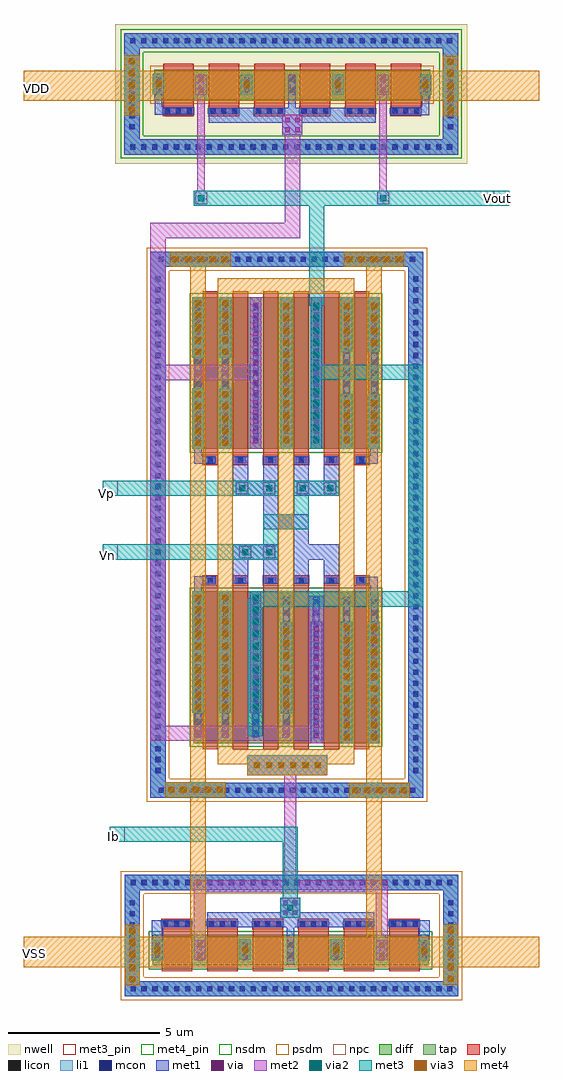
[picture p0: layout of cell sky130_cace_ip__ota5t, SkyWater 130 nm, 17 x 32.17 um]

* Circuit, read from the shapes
.subckt sky130_cace_ip__ota5t Ib VDD VSS Vn Vout Vp
XM1 n1 VSS VSS VSS sky130_fd_pr__nfet_01v8 w=1 l=1 m=2
XM2 n1 VSS VSS VSS sky130_fd_pr__nfet_01v8 w=5 l=0.5 m=4
XM3 VSS Ib n1 VSS sky130_fd_pr__nfet_01v8 w=1 l=1 m=2
XM4 Vout Vn n1 VSS sky130_fd_pr__nfet_01v8 w=5 l=0.5 m=4
XM5 n2 Vp n1 VSS sky130_fd_pr__nfet_01v8 w=5 l=0.5 m=4
XM6 Ib Ib VSS VSS sky130_fd_pr__nfet_01v8 w=1 l=1 m=2
XM7 Vout VDD VDD VDD sky130_fd_pr__pfet_01v8 w=1 l=1 m=2
XM8 VDD n2 Vout VDD sky130_fd_pr__pfet_01v8 w=1 l=1 m=2
XM9 n2 n2 VDD VDD sky130_fd_pr__pfet_01v8 w=1 l=1 m=2
.ends

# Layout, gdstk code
import gdstk
lib = gdstk.Library(unit=1e-6, precision=1e-09)
def R(c, l, rs):  # rectangles x0, y0, x1, y1
    for r in rs: c.add(gdstk.rectangle(r[:2], r[2:], *l))
def A(c, l, x, y, w, h, nx, ny, dx, dy):  # array of equal rectangles
    R(c, l, [(x+i*dx, y+j*dy, x+i*dx+w, y+j*dy+h) for i in range(nx) for j in range(ny)])
def P(c, l, *ps):  # polygons
    for p in ps: c.add(gdstk.Polygon(p, *l))
nwell = (64, 20)
diff = (65, 20)
tap = (65, 44)
poly = (66, 20)
licon = (66, 44)
li1 = (67, 20)
mcon = (67, 44)
met1 = (68, 20)
via = (68, 44)
met2 = (69, 20)
via2 = (69, 44)
met3_pin = (70, 16)
met3 = (70, 20)
via3 = (70, 44)
met4_pin = (71, 16)
met4 = (71, 20)
nsdm = (93, 44)
psdm = (94, 20)
npc = (95, 20)

nfet = lib.new_cell('nfet')
R(nfet, diff, [(0,0,6.1,5)])
A(nfet, poly, 0.3, -0.2, 0.5, 5.4, 6, 1, 1, 0)
A(nfet, poly, 0.3, 5.2, 0.5, 0.33, 6, 1, 1, 0)
A(nfet, licon, 0.065, 0.255, 0.17, 0.17, 1, 13, 0, 0.36)
A(nfet, licon, 0.965, 0.255, 0.17, 0.17, 5, 13, 1, 0.36)
A(nfet, licon, 5.865, 0.255, 0.17, 0.17, 1, 13, 0, 0.36)
A(nfet, licon, 0.465, 5.28, 0.17, 0.17, 6, 1, 1, 0)
A(nfet, li1, 0.965, 0.175, 0.17, 4.65, 5, 1, 1, 0)
A(nfet, li1, 0.385, 5.28, 0.33, 0.17, 6, 1, 1, 0)
R(nfet, li1, [(0.065,0.175,0.235,4.825), (5.865,0.175,6.035,4.825)])
A(nfet, mcon, 0.065, 0.255, 0.17, 0.17, 1, 13, 0, 0.36)
A(nfet, mcon, 0.965, 0.255, 0.17, 0.17, 5, 13, 1, 0.36)
A(nfet, mcon, 5.865, 0.255, 0.17, 0.17, 1, 13, 0, 0.36)
A(nfet, mcon, 0.465, 5.28, 0.17, 0.17, 6, 1, 1, 0)
A(nfet, met1, 0.935, 0.195, 0.23, 4.61, 5, 1, 1, 0)
A(nfet, met1, 0.365, 5.25, 0.37, 0.23, 6, 1, 1, 0)
R(nfet, met1, [(0.035,0.195,0.265,4.805), (5.835,0.195,6.065,4.805)])
R(nfet, nsdm, [(-0.125,-0.125,6.225,5.125)])
A(nfet, npc, 0.29, 5.19, 0.52, 0.35, 6, 1, 1, 0)

nfet_2 = lib.new_cell('nfet$2')
R(nfet_2, diff, [(0,0,6.1,5)])
A(nfet_2, poly, 0.3, -0.53, 0.5, 0.33, 6, 1, 1, 0)
A(nfet_2, poly, 0.3, -0.2, 0.5, 5.4, 6, 1, 1, 0)
A(nfet_2, licon, 0.465, -0.45, 0.17, 0.17, 6, 1, 1, 0)
A(nfet_2, licon, 0.065, 0.255, 0.17, 0.17, 1, 13, 0, 0.36)
A(nfet_2, licon, 0.965, 0.255, 0.17, 0.17, 5, 13, 1, 0.36)
A(nfet_2, licon, 5.865, 0.255, 0.17, 0.17, 1, 13, 0, 0.36)
A(nfet_2, li1, 0.385, -0.45, 0.33, 0.17, 6, 1, 1, 0)
A(nfet_2, li1, 0.965, 0.175, 0.17, 4.65, 5, 1, 1, 0)
R(nfet_2, li1, [(0.065,0.175,0.235,4.825), (5.865,0.175,6.035,4.825)])
A(nfet_2, mcon, 0.465, -0.45, 0.17, 0.17, 6, 1, 1, 0)
A(nfet_2, mcon, 0.065, 0.255, 0.17, 0.17, 1, 13, 0, 0.36)
A(nfet_2, mcon, 0.965, 0.255, 0.17, 0.17, 5, 13, 1, 0.36)
A(nfet_2, mcon, 5.865, 0.255, 0.17, 0.17, 1, 13, 0, 0.36)
A(nfet_2, met1, 0.365, -0.48, 0.37, 0.23, 6, 1, 1, 0)
A(nfet_2, met1, 0.935, 0.195, 0.23, 4.61, 5, 1, 1, 0)
R(nfet_2, met1, [(0.035,0.195,0.265,4.805), (5.835,0.195,6.065,4.805)])
R(nfet_2, nsdm, [(-0.125,-0.125,6.225,5.125)])
A(nfet_2, npc, 0.29, -0.54, 0.52, 0.35, 6, 1, 1, 0)

guard_ring_gen_4 = lib.new_cell('guard_ring_gen$4')
P(guard_ring_gen_4, tap, [(-0.5,-0.5),(-0.5,3),(0,3),(0,0),(10,0),(10,3),(-0.5,3),(-0.5,3.5),(10.5,3.5),(10.5,-0.5)])
A(guard_ring_gen_4, licon, -0.305, -0.335, 0.17, 0.17, 30, 2, 0.36, 3.5)
A(guard_ring_gen_4, licon, -0.335, 0.335, 0.17, 0.17, 1, 7, 0, 0.36)
A(guard_ring_gen_4, licon, 10.165, 0.335, 0.17, 0.17, 1, 7, 0, 0.36)
P(guard_ring_gen_4, li1, [(-0.5,-0.5),(-0.5,3),(0,3),(0,0),(10,0),(10,3),(-0.5,3),(-0.5,3.5),(10.5,3.5),(10.5,-0.5)])
A(guard_ring_gen_4, mcon, -0.305, -0.335, 0.17, 0.17, 30, 2, 0.36, 3.5)
A(guard_ring_gen_4, mcon, -0.335, 0.335, 0.17, 0.17, 1, 7, 0, 0.36)
A(guard_ring_gen_4, mcon, 10.165, 0.335, 0.17, 0.17, 1, 7, 0, 0.36)
P(guard_ring_gen_4, met1, [(-0.5,-0.5),(-0.5,3),(0,3),(0,0),(10,0),(10,3),(-0.5,3),(-0.5,3.5),(10.5,3.5),(10.5,-0.5)])
P(guard_ring_gen_4, psdm, [(-0.625,-0.625),(-0.625,2.875),(0.125,2.875),(0.125,0.125),(9.875,0.125),(9.875,2.875),(-0.625,2.875),(-0.625,3.625),(10.625,3.625),(10.625,-0.625)])

vias_gen_1 = lib.new_cell('vias_gen$1')
R(vias_gen_1, met1, [(0,0,0.4,0.4)])
R(vias_gen_1, via, [(0.125,0.125,0.275,0.275)])
R(vias_gen_1, met2, [(0,0,0.4,0.4)])
R(vias_gen_1, via2, [(0.1,0.1,0.3,0.3)])
R(vias_gen_1, met3, [(0,0,0.4,0.4)])

pfet = lib.new_cell('pfet')
R(pfet, nwell, [(-0.305,-0.72,9.405,1.38)])
R(pfet, diff, [(0,0,9.1,1)])
A(pfet, poly, 0.3, -0.53, 1, 0.33, 6, 1, 1.5, 0)
A(pfet, poly, 0.3, -0.2, 1, 1.4, 6, 1, 1.5, 0)
A(pfet, licon, 0.355, -0.45, 0.17, 0.17, 3, 1, 0.36, 0)
A(pfet, licon, 1.855, -0.45, 0.17, 0.17, 3, 1, 0.36, 0)
A(pfet, licon, 3.355, -0.45, 0.17, 0.17, 3, 1, 0.36, 0)
A(pfet, licon, 4.855, -0.45, 0.17, 0.17, 3, 1, 0.36, 0)
A(pfet, licon, 6.355, -0.45, 0.17, 0.17, 3, 1, 0.36, 0)
A(pfet, licon, 7.855, -0.45, 0.17, 0.17, 3, 1, 0.36, 0)
A(pfet, licon, 1.465, 0.235, 0.17, 0.17, 5, 2, 1.5, 0.36)
R(pfet, licon, [(0.065,0.235,0.235,0.405), (8.865,0.235,9.035,0.405), (0.065,0.595,0.235,0.765), (8.865,0.595,9.035,0.765)])
A(pfet, li1, 0.275, -0.45, 1.05, 0.17, 6, 1, 1.5, 0)
A(pfet, li1, 1.465, 0.155, 0.17, 0.69, 5, 1, 1.5, 0)
R(pfet, li1, [(0.065,0.155,0.235,0.845), (8.865,0.155,9.035,0.845)])
A(pfet, mcon, 0.355, -0.45, 0.17, 0.17, 3, 1, 0.36, 0)
A(pfet, mcon, 1.855, -0.45, 0.17, 0.17, 3, 1, 0.36, 0)
A(pfet, mcon, 3.355, -0.45, 0.17, 0.17, 3, 1, 0.36, 0)
A(pfet, mcon, 4.855, -0.45, 0.17, 0.17, 3, 1, 0.36, 0)
A(pfet, mcon, 6.355, -0.45, 0.17, 0.17, 3, 1, 0.36, 0)
A(pfet, mcon, 7.855, -0.45, 0.17, 0.17, 3, 1, 0.36, 0)
A(pfet, mcon, 1.465, 0.235, 0.17, 0.17, 5, 2, 1.5, 0.36)
R(pfet, mcon, [(0.065,0.235,0.235,0.405), (8.865,0.235,9.035,0.405), (0.065,0.595,0.235,0.765), (8.865,0.595,9.035,0.765)])
A(pfet, met1, 0.295, -0.48, 1.01, 0.23, 6, 1, 1.5, 0)
A(pfet, met1, 1.435, 0.175, 0.23, 0.65, 5, 1, 1.5, 0)
R(pfet, met1, [(0.035,0.175,0.265,0.825), (8.835,0.175,9.065,0.825)])
R(pfet, psdm, [(-0.125,-0.125,9.225,1.125)])
A(pfet, npc, 0.29, -0.54, 1.02, 0.35, 6, 1, 1.5, 0)

vias_gen_6 = lib.new_cell('vias_gen$6')
R(vias_gen_6, met2, [(0,0,0.4,0.4)])
R(vias_gen_6, via2, [(0.1,0.1,0.3,0.3)])
R(vias_gen_6, met3, [(0,0,0.4,0.4)])

nfet_3 = lib.new_cell('nfet$3')
R(nfet_3, diff, [(0,0,9.1,1)])
A(nfet_3, poly, 0.3, -0.2, 1, 1.4, 6, 1, 1.5, 0)
A(nfet_3, poly, 0.3, 1.2, 1, 0.33, 6, 1, 1.5, 0)
A(nfet_3, licon, 1.465, 0.235, 0.17, 0.17, 5, 2, 1.5, 0.36)
A(nfet_3, licon, 0.355, 1.28, 0.17, 0.17, 3, 1, 0.36, 0)
A(nfet_3, licon, 1.855, 1.28, 0.17, 0.17, 3, 1, 0.36, 0)
A(nfet_3, licon, 3.355, 1.28, 0.17, 0.17, 3, 1, 0.36, 0)
A(nfet_3, licon, 4.855, 1.28, 0.17, 0.17, 3, 1, 0.36, 0)
A(nfet_3, licon, 6.355, 1.28, 0.17, 0.17, 3, 1, 0.36, 0)
A(nfet_3, licon, 7.855, 1.28, 0.17, 0.17, 3, 1, 0.36, 0)
R(nfet_3, licon, [(0.065,0.235,0.235,0.405), (8.865,0.235,9.035,0.405), (0.065,0.595,0.235,0.765), (8.865,0.595,9.035,0.765)])
A(nfet_3, li1, 1.465, 0.155, 0.17, 0.69, 5, 1, 1.5, 0)
A(nfet_3, li1, 0.275, 1.28, 1.05, 0.17, 6, 1, 1.5, 0)
R(nfet_3, li1, [(0.065,0.155,0.235,0.845), (8.865,0.155,9.035,0.845)])
A(nfet_3, mcon, 1.465, 0.235, 0.17, 0.17, 5, 2, 1.5, 0.36)
A(nfet_3, mcon, 0.355, 1.28, 0.17, 0.17, 3, 1, 0.36, 0)
A(nfet_3, mcon, 1.855, 1.28, 0.17, 0.17, 3, 1, 0.36, 0)
A(nfet_3, mcon, 3.355, 1.28, 0.17, 0.17, 3, 1, 0.36, 0)
A(nfet_3, mcon, 4.855, 1.28, 0.17, 0.17, 3, 1, 0.36, 0)
A(nfet_3, mcon, 6.355, 1.28, 0.17, 0.17, 3, 1, 0.36, 0)
A(nfet_3, mcon, 7.855, 1.28, 0.17, 0.17, 3, 1, 0.36, 0)
R(nfet_3, mcon, [(0.065,0.235,0.235,0.405), (8.865,0.235,9.035,0.405), (0.065,0.595,0.235,0.765), (8.865,0.595,9.035,0.765)])
A(nfet_3, met1, 1.435, 0.175, 0.23, 0.65, 5, 1, 1.5, 0)
A(nfet_3, met1, 0.295, 1.25, 1.01, 0.23, 6, 1, 1.5, 0)
R(nfet_3, met1, [(0.035,0.175,0.265,0.825), (8.835,0.175,9.065,0.825)])
R(nfet_3, nsdm, [(-0.125,-0.125,9.225,1.125)])
A(nfet_3, npc, 0.29, 1.19, 1.02, 0.35, 6, 1, 1.5, 0)

vias_gen = lib.new_cell('vias_gen')
R(vias_gen, met1, [(0,0,0.38,0.66)])
R(vias_gen, via, [(0.115,0.095,0.265,0.245), (0.115,0.415,0.265,0.565)])
R(vias_gen, met2, [(0,0,0.38,0.66)])
R(vias_gen, via2, [(0.09,0.23,0.29,0.43)])
R(vias_gen, met3, [(0,0,0.38,0.66)])
R(vias_gen, via3, [(0.09,0.23,0.29,0.43)])
R(vias_gen, met4, [(0,0,0.38,0.66)])

vias_gen_11 = lib.new_cell('vias_gen$11')
R(vias_gen_11, met1, [(0,0,0.66,0.66)])
R(vias_gen_11, via, [(0.095,0.095,0.245,0.245), (0.415,0.095,0.565,0.245), (0.095,0.415,0.245,0.565), (0.415,0.415,0.565,0.565)])
R(vias_gen_11, met2, [(0,0,0.66,0.66)])

vias_gen_19 = lib.new_cell('vias_gen$19')
R(vias_gen_19, met1, [(0,0,0.38,4)])
A(vias_gen_19, via, 0.115, 0.165, 0.15, 0.15, 1, 12, 0, 0.32)
R(vias_gen_19, met2, [(0,0,0.38,4)])

vias_gen_13 = lib.new_cell('vias_gen$13')
R(vias_gen_13, met2, [(0,0,2.64,0.66)])
A(vias_gen_13, via2, 0.22, 0.23, 0.2, 0.2, 6, 1, 0.4, 0)
R(vias_gen_13, met3, [(0,0,2.64,0.66)])
A(vias_gen_13, via3, 0.22, 0.23, 0.2, 0.2, 6, 1, 0.4, 0)
R(vias_gen_13, met4, [(0,0,2.64,0.66)])

vias_gen_10 = lib.new_cell('vias_gen$10')
R(vias_gen_10, met1, [(0,0,0.66,0.66)])
R(vias_gen_10, via, [(0.095,0.095,0.245,0.245), (0.415,0.095,0.565,0.245), (0.095,0.415,0.245,0.565), (0.415,0.415,0.565,0.565)])
R(vias_gen_10, met2, [(0,0,0.66,0.66)])
R(vias_gen_10, via2, [(0.23,0.23,0.43,0.43)])
R(vias_gen_10, met3, [(0,0,0.66,0.66)])

vias_gen_17 = lib.new_cell('vias_gen$17')
R(vias_gen_17, met1, [(0,0,0.38,1.8)])
A(vias_gen_17, via, 0.115, 0.185, 0.15, 0.15, 1, 5, 0, 0.32)
R(vias_gen_17, met2, [(0,0,0.38,1.8)])
A(vias_gen_17, via2, 0.09, 0.2, 0.2, 0.2, 1, 4, 0, 0.4)
R(vias_gen_17, met3, [(0,0,0.38,1.8)])
A(vias_gen_17, via3, 0.09, 0.2, 0.2, 0.2, 1, 4, 0, 0.4)
R(vias_gen_17, met4, [(0,0,0.38,1.8)])

vias_gen_18 = lib.new_cell('vias_gen$18')
R(vias_gen_18, met1, [(0,0,0.38,4)])
A(vias_gen_18, via, 0.115, 0.165, 0.15, 0.15, 1, 12, 0, 0.32)
R(vias_gen_18, met2, [(0,0,0.38,4)])
A(vias_gen_18, via2, 0.09, 0.1, 0.2, 0.2, 1, 10, 0, 0.4)
R(vias_gen_18, met3, [(0,0,0.38,4)])
A(vias_gen_18, via3, 0.09, 0.1, 0.2, 0.2, 1, 10, 0, 0.4)
R(vias_gen_18, met4, [(0,0,0.38,4)])

vias_gen_12 = lib.new_cell('vias_gen$12')
R(vias_gen_12, met1, [(0,0,0.38,0.66)])
R(vias_gen_12, via, [(0.115,0.095,0.265,0.245), (0.115,0.415,0.265,0.565)])
R(vias_gen_12, met2, [(0,0,0.38,0.66)])

guard_ring_gen_5 = lib.new_cell('guard_ring_gen$5')
P(guard_ring_gen_5, tap, [(-0.5,-0.5),(-0.5,17),(0,17),(0,0),(8,0),(8,17),(-0.5,17),(-0.5,17.5),(8.5,17.5),(8.5,-0.5)])
A(guard_ring_gen_5, licon, -0.225, -0.335, 0.17, 0.17, 24, 2, 0.36, 17.5)
A(guard_ring_gen_5, licon, -0.335, 0.315, 0.17, 0.17, 1, 46, 0, 0.36)
A(guard_ring_gen_5, licon, 8.165, 0.315, 0.17, 0.17, 1, 46, 0, 0.36)
P(guard_ring_gen_5, li1, [(-0.5,-0.5),(-0.5,17),(0,17),(0,0),(8,0),(8,17),(-0.5,17),(-0.5,17.5),(8.5,17.5),(8.5,-0.5)])
A(guard_ring_gen_5, mcon, -0.225, -0.335, 0.17, 0.17, 24, 2, 0.36, 17.5)
A(guard_ring_gen_5, mcon, -0.335, 0.315, 0.17, 0.17, 1, 46, 0, 0.36)
A(guard_ring_gen_5, mcon, 8.165, 0.315, 0.17, 0.17, 1, 46, 0, 0.36)
P(guard_ring_gen_5, met1, [(-0.5,-0.5),(-0.5,17),(0,17),(0,0),(8,0),(8,17),(-0.5,17),(-0.5,17.5),(8.5,17.5),(8.5,-0.5)])
P(guard_ring_gen_5, psdm, [(-0.625,-0.625),(-0.625,16.875),(0.125,16.875),(0.125,0.125),(7.875,0.125),(7.875,16.875),(-0.625,16.875),(-0.625,17.625),(8.625,17.625),(8.625,-0.625)])

vias_gen_15 = lib.new_cell('vias_gen$15')
R(vias_gen_15, met1, [(0,0,0.5,2)])
A(vias_gen_15, via, 0.175, 0.125, 0.15, 0.15, 1, 6, 0, 0.32)
R(vias_gen_15, met2, [(0,0,0.5,2)])
A(vias_gen_15, via2, 0.15, 0.1, 0.2, 0.2, 1, 5, 0, 0.4)
R(vias_gen_15, met3, [(0,0,0.5,2)])
A(vias_gen_15, via3, 0.15, 0.1, 0.2, 0.2, 1, 5, 0, 0.4)
R(vias_gen_15, met4, [(0,0,0.5,2)])

vias_gen_9 = lib.new_cell('vias_gen$9')
R(vias_gen_9, met1, [(0,0,0.38,5)])
A(vias_gen_9, via, 0.115, 0.185, 0.15, 0.15, 1, 15, 0, 0.32)
R(vias_gen_9, met2, [(0,0,0.38,5)])

vias_gen_7 = lib.new_cell('vias_gen$7')
R(vias_gen_7, met1, [(0,0,0.38,5)])
A(vias_gen_7, via, 0.115, 0.185, 0.15, 0.15, 1, 15, 0, 0.32)
R(vias_gen_7, met2, [(0,0,0.38,5)])
A(vias_gen_7, via2, 0.09, 0.2, 0.2, 0.2, 1, 12, 0, 0.4)
R(vias_gen_7, met3, [(0,0,0.38,5)])

vias_gen_21 = lib.new_cell('vias_gen$21')
R(vias_gen_21, met1, [(0,0,0.38,4)])
A(vias_gen_21, via, 0.115, 0.165, 0.15, 0.15, 1, 12, 0, 0.32)
R(vias_gen_21, met2, [(0,0,0.38,4)])
A(vias_gen_21, via2, 0.09, 0.1, 0.2, 0.2, 1, 10, 0, 0.4)
R(vias_gen_21, met3, [(0,0,0.38,4)])

vias_gen_20 = lib.new_cell('vias_gen$20')
R(vias_gen_20, met1, [(0,0,0.38,3)])
A(vias_gen_20, via, 0.115, 0.145, 0.15, 0.15, 1, 9, 0, 0.32)
R(vias_gen_20, met2, [(0,0,0.38,3)])
A(vias_gen_20, via2, 0.09, 0.2, 0.2, 0.2, 1, 7, 0, 0.4)
R(vias_gen_20, met3, [(0,0,0.38,3)])
A(vias_gen_20, via3, 0.09, 0.2, 0.2, 0.2, 1, 7, 0, 0.4)
R(vias_gen_20, met4, [(0,0,0.38,3)])

vias_gen_8 = lib.new_cell('vias_gen$8')
R(vias_gen_8, met1, [(0,0,0.38,5)])
A(vias_gen_8, via, 0.115, 0.185, 0.15, 0.15, 1, 15, 0, 0.32)
R(vias_gen_8, met2, [(0,0,0.38,5)])
A(vias_gen_8, via2, 0.09, 0.2, 0.2, 0.2, 1, 12, 0, 0.4)
R(vias_gen_8, met3, [(0,0,0.38,5)])
A(vias_gen_8, via3, 0.09, 0.2, 0.2, 0.2, 1, 12, 0, 0.4)
R(vias_gen_8, met4, [(0,0,0.38,5)])

guard_ring_gen_3 = lib.new_cell('guard_ring_gen$3')
P(guard_ring_gen_3, tap, [(-0.5,-0.5),(-0.5,3),(0,3),(0,0),(10,0),(10,3),(-0.5,3),(-0.5,3.5),(10.5,3.5),(10.5,-0.5)])
A(guard_ring_gen_3, licon, -0.305, -0.335, 0.17, 0.17, 30, 2, 0.36, 3.5)
A(guard_ring_gen_3, licon, -0.335, 0.335, 0.17, 0.17, 1, 7, 0, 0.36)
A(guard_ring_gen_3, licon, 10.165, 0.335, 0.17, 0.17, 1, 7, 0, 0.36)
P(guard_ring_gen_3, li1, [(-0.5,-0.5),(-0.5,3),(0,3),(0,0),(10,0),(10,3),(-0.5,3),(-0.5,3.5),(10.5,3.5),(10.5,-0.5)])
A(guard_ring_gen_3, mcon, -0.305, -0.335, 0.17, 0.17, 30, 2, 0.36, 3.5)
A(guard_ring_gen_3, mcon, -0.335, 0.335, 0.17, 0.17, 1, 7, 0, 0.36)
A(guard_ring_gen_3, mcon, 10.165, 0.335, 0.17, 0.17, 1, 7, 0, 0.36)
P(guard_ring_gen_3, met1, [(-0.5,-0.5),(-0.5,3),(0,3),(0,0),(10,0),(10,3),(-0.5,3),(-0.5,3.5),(10.5,3.5),(10.5,-0.5)])
P(guard_ring_gen_3, nsdm, [(-0.625,-0.625),(-0.625,2.875),(0.125,2.875),(0.125,0.125),(9.875,0.125),(9.875,2.875),(-0.625,2.875),(-0.625,3.625),(10.625,3.625),(10.625,-0.625)])

vias_gen_16 = lib.new_cell('vias_gen$16')
R(vias_gen_16, met1, [(0,0,2,0.5)])
A(vias_gen_16, via, 0.125, 0.175, 0.15, 0.15, 6, 1, 0.32, 0)
R(vias_gen_16, met2, [(0,0,2,0.5)])
A(vias_gen_16, via2, 0.1, 0.15, 0.2, 0.2, 5, 1, 0.4, 0)
R(vias_gen_16, met3, [(0,0,2,0.5)])
A(vias_gen_16, via3, 0.1, 0.15, 0.2, 0.2, 5, 1, 0.4, 0)
R(vias_gen_16, met4, [(0,0,2,0.5)])

vias_gen_5 = lib.new_cell('vias_gen$5')
R(vias_gen_5, met1, [(0,0,0.38,2)])
A(vias_gen_5, via, 0.115, 0.125, 0.15, 0.15, 1, 6, 0, 0.32)
R(vias_gen_5, met2, [(0,0,0.38,2)])
A(vias_gen_5, via2, 0.09, 0.1, 0.2, 0.2, 1, 5, 0, 0.4)
R(vias_gen_5, met3, [(0,0,0.38,2)])
A(vias_gen_5, via3, 0.09, 0.1, 0.2, 0.2, 1, 5, 0, 0.4)
R(vias_gen_5, met4, [(0,0,0.38,2)])

nfet_4 = lib.new_cell('nfet$4')

vias_gen_22 = lib.new_cell('vias_gen$22')

sky130_cace_ip__ota5t = lib.new_cell('sky130_cace_ip__ota5t')
R(sky130_cace_ip__ota5t, nwell, [(-2.985,10.495,8.625,15.105)])
A(sky130_cace_ip__ota5t, met1, 0.9, -3.35, 0.5, 0.8, 4, 2, 1, 3.4)
R(sky130_cace_ip__ota5t, met1, [(2.675,-15.9,2.925,-14.18), (-1.78,-15.29,-1.4,-14.44), (7.01,-15.24,7.39,-14.44), (0.045,-14.67,5.555,-14.17), (0.9,-2.55,2.4,-2.05), (2.9,-2.55,4.4,-2.05), (0.9,-0.45,2.4,0.05), (2.9,-0.45,4.4,0.05), (0.1,11.85,5.6,12.35), (2.725,12.14,2.975,13.44)])
P(sky130_cace_ip__ota5t, met1, [(2.9,-2.05),(2.9,-1.55),(1.9,-1.55),(1.9,-0.45),(2.4,-0.45),(2.4,-1.05),(3.4,-1.05),(3.4,-2.05)],
  [(-0.375,0.615),(-0.375,1.34),(-0.125,1.34),(-0.125,0.865),(0.34,0.865),(0.34,0.615)],
  [(4.95,0.615),(4.95,0.865),(5.425,0.865),(5.425,1.3),(5.675,1.3),(5.675,0.615)],
  [(-0.375,-3.72),(-0.375,-3.105),(0.34,-3.105),(0.34,-3.355),(-0.125,-3.355),(-0.125,-3.72)],
  [(5.425,-3.82),(5.425,-3.365),(4.96,-3.365),(4.96,-3.115),(5.675,-3.115),(5.675,-3.82)],
  [(-1.675,12.115),(-1.675,12.93),(-1.425,12.93),(-1.425,12.365),(-0.38,12.365),(-0.38,12.115)],
  [(6.09,12.105),(6.09,12.355),(7.125,12.355),(7.125,12.84),(7.375,12.84),(7.375,12.105)])
R(sky130_cace_ip__ota5t, met2, [(2.59,-13.12,2.99,-9.35), (3.4,-8.53,3.9,-3.74), (-1.82,-8.52,3.53,-8.02), (-1.32,3.37,1.67,3.87), (-0.275,9.16,-0.025,13.44), (5.725,9.16,5.975,13.43)])
P(sky130_cace_ip__ota5t, met2, [(-1.82,-8.02),(-1.82,8.55),(2.61,8.55),(2.61,11.85),(3.11,11.85),(3.11,8.05),(-1.32,8.05),(-1.32,-8.02)],
  [(-0.4,-15.76),(-0.4,-13.12),(6,-13.12),(6,-15.76),(5.6,-15.76),(5.6,-13.52),(0,-13.52),(0,-15.76)])
R(sky130_cace_ip__ota5t, met3_pin, [(-3.16,-11.85,-2.66,-11.35), (-3.4,-2.55,-2.9,-2.05), (-3.4,-0.45,-2.9,0.05), (9.5,9.11,10,9.61)])
R(sky130_cace_ip__ota5t, met3, [(1.39,-8.37,1.89,-3.83), (1.75,-4.1,6.82,-3.6), (6.68,-4.1,7.18,3.88), (-3.4,-2.55,0.9,-2.05), (0.9,-2.55,2.4,-2.05), (-3.4,-0.45,0.9,0.05), (0.9,-0.45,2.4,0.05), (2.9,-0.45,4.4,0.05), (3.72,3.38,6.68,3.88), (3.41,5.81,3.91,9.11), (-0.4,9.11,10,9.61)])
P(sky130_cace_ip__ota5t, met3, [(2.54,-13.75),(2.54,-11.85),(-3.16,-11.85),(-3.16,-11.35),(3.04,-11.35),(3.04,-13.75)],
  [(1.9,-2.05),(1.9,-1.05),(2.9,-1.05),(2.9,-0.45),(3.4,-0.45),(3.4,-1.55),(2.4,-1.55),(2.4,-2.05)])
R(sky130_cace_ip__ota5t, met4_pin, [(-6,-15.98,11,-14.98), (-6,12.57,11,13.57)])
A(sky130_cace_ip__ota5t, met4, 0.4, -9, 0.5, 15.5, 3, 1, 2, 0)
R(sky130_cace_ip__ota5t, met4, [(-6,-15.98,11,-14.98), (-0.5,-15.5,0,7.25), (5.3,-15.5,5.8,7.25), (0.4,-9.3,4.9,-8.8), (0.4,6.22,4.9,6.72), (-6,12.57,11,13.57)])
sky130_cace_ip__ota5t.add(gdstk.Reference(nfet, (-0.4,-8.6)))
sky130_cace_ip__ota5t.add(gdstk.Reference(nfet_2, (-0.4,1.1)))
sky130_cace_ip__ota5t.add(gdstk.Reference(guard_ring_gen_4, (-2.17,-16.44)))
sky130_cace_ip__ota5t.add(gdstk.Reference(vias_gen_1, (1.9,-0.4)))
sky130_cace_ip__ota5t.add(gdstk.Reference(vias_gen_1, (1.9,-2.5)))
sky130_cace_ip__ota5t.add(gdstk.Reference(vias_gen_1, (3.9,-0.4)))
sky130_cace_ip__ota5t.add(gdstk.Reference(vias_gen_1, (3,-0.4)))
sky130_cace_ip__ota5t.add(gdstk.Reference(vias_gen_1, (1.1,-2.5)))
sky130_cace_ip__ota5t.add(gdstk.Reference(vias_gen_1, (1,-0.4)))
sky130_cace_ip__ota5t.add(gdstk.Reference(pfet, (-1.7,12.6)))
sky130_cace_ip__ota5t.add(gdstk.Reference(vias_gen_6, (-0.35,9.16)))
sky130_cace_ip__ota5t.add(gdstk.Reference(vias_gen_6, (5.65,9.16)))
sky130_cace_ip__ota5t.add(gdstk.Reference(nfet_3, (-1.75,-15.92)))
sky130_cace_ip__ota5t.add(gdstk.Reference(vias_gen, (-1.74,12.8)))
sky130_cace_ip__ota5t.add(gdstk.Reference(vias_gen, (1.16,12.77)))
sky130_cace_ip__ota5t.add(gdstk.Reference(vias_gen, (4.17,12.77)))
sky130_cace_ip__ota5t.add(gdstk.Reference(vias_gen, (7.05,12.77)))
sky130_cace_ip__ota5t.add(gdstk.Reference(vias_gen, (4.12,-15.73)))
sky130_cace_ip__ota5t.add(gdstk.Reference(vias_gen, (1.11,-15.73)))
sky130_cace_ip__ota5t.add(gdstk.Reference(vias_gen, (7.01,-15.77)))
sky130_cace_ip__ota5t.add(gdstk.Reference(vias_gen, (-1.78,-15.75)))
sky130_cace_ip__ota5t.add(gdstk.Reference(vias_gen_11, (2.53,11.45)))
sky130_cace_ip__ota5t.add(gdstk.Reference(vias_gen_19, (3.46,-8.6)))
sky130_cace_ip__ota5t.add(gdstk.Reference(vias_gen_13, (1.37,-9.66)))
sky130_cace_ip__ota5t.add(gdstk.Reference(vias_gen_10, (2.46,-14.35)))
sky130_cace_ip__ota5t.add(gdstk.Reference(vias_gen_17, (5.36,1.1)))
sky130_cace_ip__ota5t.add(gdstk.Reference(vias_gen_18, (-0.44,-7.6)))
sky130_cace_ip__ota5t.add(gdstk.Reference(vias_gen_18, (5.36,-8.6)))
sky130_cace_ip__ota5t.add(gdstk.Reference(vias_gen_17, (5.36,4.3)))
sky130_cace_ip__ota5t.add(gdstk.Reference(vias_gen_12, (5.61,-15.75)))
sky130_cace_ip__ota5t.add(gdstk.Reference(vias_gen_12, (-0.39,-15.75)))
sky130_cace_ip__ota5t.add(gdstk.Reference(guard_ring_gen_5, (-1.32,-9.9)))
sky130_cace_ip__ota5t.add(gdstk.Reference(vias_gen_15, (7.83,-16.56)))
sky130_cace_ip__ota5t.add(gdstk.Reference(vias_gen_9, (1.46,1.1)))
sky130_cace_ip__ota5t.add(gdstk.Reference(vias_gen_7, (3.46,1.1)))
sky130_cace_ip__ota5t.add(gdstk.Reference(vias_gen_21, (1.46,-7.6)))
sky130_cace_ip__ota5t.add(gdstk.Reference(vias_gen_17, (4.46,1.1)))
sky130_cace_ip__ota5t.add(gdstk.Reference(vias_gen_17, (4.46,4.3)))
sky130_cace_ip__ota5t.add(gdstk.Reference(vias_gen_18, (0.45,-7.6)))
sky130_cace_ip__ota5t.add(gdstk.Reference(vias_gen_18, (4.46,-8.6)))
sky130_cace_ip__ota5t.add(gdstk.Reference(vias_gen_20, (2.47,-7.61)))
sky130_cace_ip__ota5t.add(gdstk.Reference(vias_gen_8, (2.47,1.1)))
sky130_cace_ip__ota5t.add(gdstk.Reference(vias_gen_15, (7.82,12.06)))
sky130_cace_ip__ota5t.add(gdstk.Reference(guard_ring_gen_3, (-2.18,11.3)))
sky130_cace_ip__ota5t.add(gdstk.Reference(vias_gen_15, (-2.68,12.08)))
sky130_cace_ip__ota5t.add(gdstk.Reference(vias_gen_15, (-2.67,-16.58)))
sky130_cace_ip__ota5t.add(gdstk.Reference(vias_gen_16, (-1.33,-10.39)))
sky130_cace_ip__ota5t.add(gdstk.Reference(vias_gen_16, (4.73,-10.4)))
sky130_cace_ip__ota5t.add(gdstk.Reference(vias_gen_16, (4.55,7.1)))
sky130_cace_ip__ota5t.add(gdstk.Reference(vias_gen_16, (-1.18,7.1)))
sky130_cace_ip__ota5t.add(gdstk.Reference(vias_gen_12, (-0.34,12.77)))
sky130_cace_ip__ota5t.add(gdstk.Reference(vias_gen_12, (5.66,12.77)))
sky130_cace_ip__ota5t.add(gdstk.Reference(vias_gen_5, (0.46,1.1)))
sky130_cace_ip__ota5t.add(gdstk.Reference(vias_gen_5, (0.46,4.1)))
sky130_cace_ip__ota5t.add(gdstk.Reference(vias_gen_5, (-0.44,4.1)))
sky130_cace_ip__ota5t.add(gdstk.Reference(vias_gen_5, (-0.44,1.1)))
sky130_cace_ip__ota5t.add(gdstk.Reference(nfet_4, (-4.6,-18.22)))
sky130_cace_ip__ota5t.add(gdstk.Reference(vias_gen_22, (-5.29,-20.3)))
sky130_cace_ip__ota5t.add(gdstk.Label('Ib', (-3.04,-11.68), layer=70, texttype=5))
sky130_cace_ip__ota5t.add(gdstk.Label('Vn', (-3.23,-2.42), layer=70, texttype=5))
sky130_cace_ip__ota5t.add(gdstk.Label('Vp', (-3.28,-0.36), layer=70, texttype=5))
sky130_cace_ip__ota5t.add(gdstk.Label('Vout', (9.62,9.35), layer=70, texttype=5))
sky130_cace_ip__ota5t.add(gdstk.Label('VSS', (-5.63,-15.54), layer=71, texttype=5))
sky130_cace_ip__ota5t.add(gdstk.Label('VDD', (-5.59,12.99), layer=71, texttype=5))

lib.write_gds('sky130_cace_ip__ota5t.gds')
